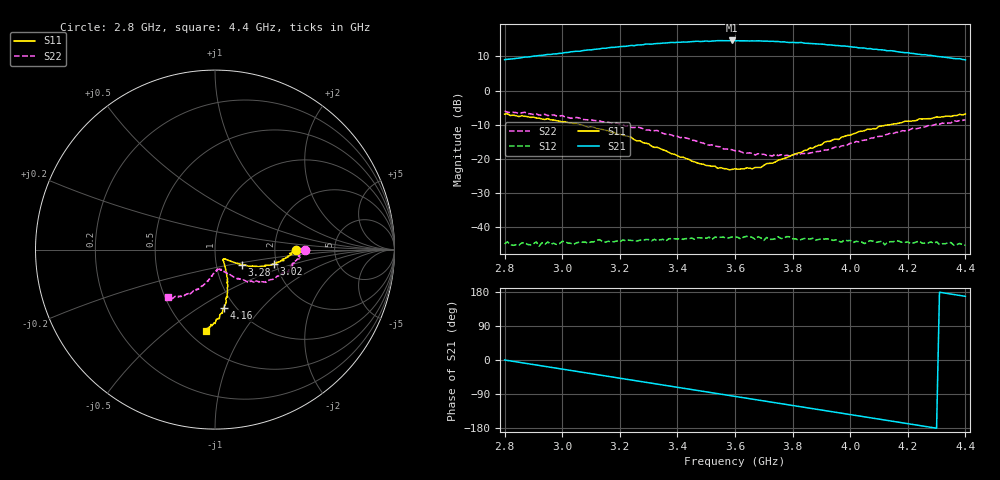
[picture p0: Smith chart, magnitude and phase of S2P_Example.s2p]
! EXAMPLE DATA (synthetic) - Touchstone v1, MA format
# GHz S MA R 50
! freq  S11(mag ang)  S21  S12  S22
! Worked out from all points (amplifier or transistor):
!   161 points, 2.8 GHz to 4.4 GHz, reference 50 ohm
!   highest |S21| = 14.7 dB at 3.59 GHz (marker M1)
!   |S21| within 3 dB of that: 3.069 GHz to 4.128 GHz (1.059 GHz wide, 29.4 % of centre)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
!   unconditionally stable (mu >= 1): start of sweep to end of sweep
!   at 3.06 GHz: K = 16.57, MAG = 12.7 dB, |S12| = -44.4 dB
!   at 3.6 GHz: K = 12.72, MAG = 14.7 dB, |S12| = -42.9 dB
!   at 4.4 GHz: K = 22.48, MAG = 10.6 dB, |S12| = -45.3 dB
!   S11 on the Smith chart (normalised r, x): 2.8 GHz: 2.66, +0.00; 3.02 GHz: 1.95, -0.34; 3.28 GHz: 1.34, -0.23; 4.16 GHz: 0.88, -0.64; 4.4 GHz: 0.61, -0.70
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2.8  0.4532 0.0  2.835 0.0  0.005734 0.0  0.5018 0.0
2.95  0.3891 -9.0  3.385 -18.0  0.006082 -19.8  0.4301 -12.6
3.02  0.3393 -13.2  3.622 -26.4  0.005889 -29.0  0.404 -18.5
3.07  0.3129 -16.2  3.841 -32.4  0.006043 -35.6  0.3796 -22.7
3.17  0.2447 -22.2  4.289 -44.4  0.006146 -48.8  0.3364 -31.1
3.28  0.1731 -28.8  4.683 -57.6  0.006429 -63.4  0.2775 -40.3
3.34  0.142 -32.4  4.904 -64.8  0.006562 -71.3  0.2465 -45.4
3.38  0.1189 -34.8  5.074 -69.6  0.006834 -76.6  0.2236 -48.7
3.47  0.08712 -40.2  5.282 -80.4  0.007031 -88.4  0.1796 -56.3
3.59  0.07034 -47.4  5.417 -94.8  0.007236 -104.3  0.1361 -66.4
3.6  0.07171 -48.0  5.357 -96.0  0.007186 -105.6  0.1316 -67.2
3.68  0.07492 -52.8  5.359 -105.6  0.007271 -116.2  0.1194 -73.9
3.73  0.08686 -55.8  5.279 -111.6  0.006668 -122.8  0.1104 -78.1
3.79  0.1091 -59.4  5.055 -118.8  0.007252 -130.7  0.1104 -83.2
3.83  0.1245 -61.8  5.068 -123.6  0.006615 -136.0  0.1202 -86.5
3.87  0.1441 -64.2  4.89 -128.4  0.006912 -141.2  0.1242 -89.9
3.98  0.2137 -70.8  4.495 -141.6  0.006529 -155.8  0.1571 -99.1
4.07  0.2701 -76.2  4.122 -152.4  0.00638 -167.6  0.2009 -106.7
4.14  0.3176 -80.4  3.839 -160.8  0.006156 -176.9  0.2387 -112.6
4.16  0.3278 -81.6  3.728 -163.2  0.006368 -179.5  0.2454 -114.2
4.26  0.3859 -87.6  3.357 -175.2  0.005845 167.3  0.2941 -122.6
4.4  0.4551 -96.0  2.818 168.0  0.005431 148.8  0.3727 -134.4
